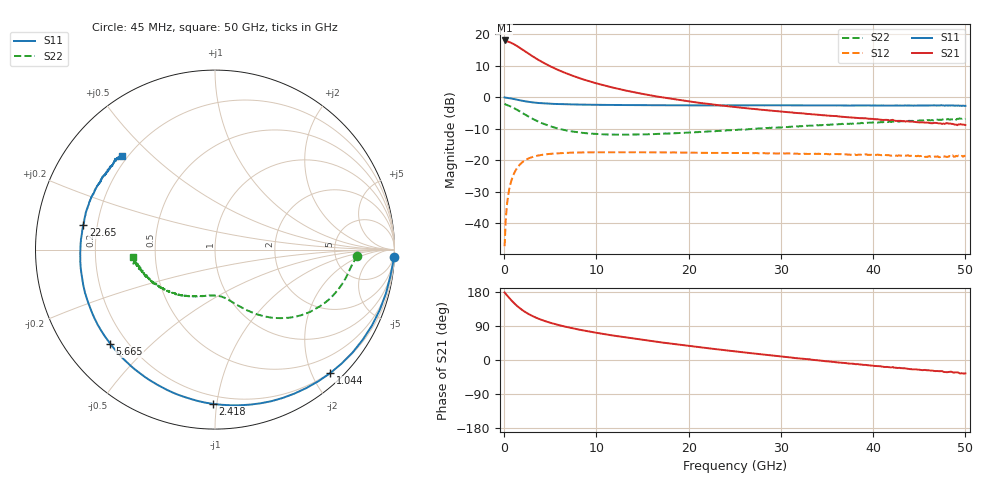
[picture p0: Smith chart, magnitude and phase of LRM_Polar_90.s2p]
!LRM Calibration
!DATE: 03-May-2007
!Vgs[V]=  -0.500
!Vds[V]=  6.000
!Igs[mA]=  0.000
!Ids[mA]=  133.151
# GHZ S RI  R  50
!  Freq  Res11  Ims11  Res21  Ims21  Res12  Ims12  Res22  Ims22
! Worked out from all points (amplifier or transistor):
!   401 points, 45 MHz to 50 GHz, reference 50 ohm
!   highest |S21| = 18.1 dB at 45 MHz (marker M1)
!   |S21| within 3 dB of that: start of sweep to 2.03 GHz
!   unconditionally stable (mu >= 1): 11.89 GHz to end of sweep
!   at 8.288 GHz: K = 0.69, MSG = 11.7 dB, |S12| = -17.5 dB
!   at 25.02 GHz: K = 2.06, MAG = 1.4 dB, |S12| = -17.6 dB
!   at 50 GHz: K = 4.15, MAG = -4.2 dB, |S12| = -18.7 dB
!   S11 on the Smith chart (normalised r, x): 45 MHz: 1, -47; 1.044 GHz: 0.19, -2.28; 2.418 GHz: 0.15, -0.98; 5.665 GHz: 0.14, -0.38; 22.65 GHz: 0.15, +0.09; 50 GHz: 0.18, +0.41
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0.045  0.9979 -0.0425  -8.005 0.2448  -0.000387 0.00432  0.7932 -0.0345
0.294775  0.953 -0.2426  -7.671 1.246  0.00351 0.0191  0.7476 -0.1181
0.54455  0.8745 -0.4229  -7.254 2.128  0.00998 0.0332  0.7083 -0.1919
0.794325  0.7673 -0.5725  -6.717 2.847  0.0187 0.0448  0.6613 -0.2519
1.0441  0.6405 -0.6894  -6.101 3.421  0.029 0.0534  0.6085 -0.2993
1.293875  0.5081 -0.7717  -5.452 3.822  0.0397 0.0594  0.5551 -0.3331
1.668538  0.3135 -0.8448  -4.517 4.18  0.0553 0.0645  0.4784 -0.3661
2.0432  0.1385 -0.8673  -3.669 4.3  0.0692 0.0655  0.4084 -0.3799
2.417863  -0.0111 -0.8598  -2.947 4.279  0.0812 0.0641  0.3494 -0.3815
3.0423  -0.2064 -0.8085  -2.003 4.055  0.0965 0.0587  0.2713 -0.3711
3.791625  -0.3688 -0.7244  -1.215 3.679  0.1091 0.0505  0.2062 -0.35
4.665838  -0.4935 -0.6253  -0.6154 3.237  0.1185 0.0411  0.1549 -0.3261
5.664937  -0.5837 -0.5244  -0.1818 2.793  0.1254 0.0313  0.1151 -0.3038
6.913812  -0.6534 -0.419  0.1493 2.345  0.1305 0.021  0.0821 -0.2841
8.412463  -0.6985 -0.3165  0.382 1.924  0.1332 0.01  0.0543 -0.2688
12.0342  -0.7428 -0.1429  0.6195 1.255  0.1343 -0.00946  0.00432 -0.2561
16.77992  -0.7496 0.0066  0.692 0.7495  0.1311 -0.0283  -0.0528 -0.2578
22.64964  -0.7332 0.1374  0.669 0.378  0.123 -0.0459  -0.1294 -0.2593
25.0225  -0.7239 0.1849  0.6483 0.2716  0.1202 -0.0523  -0.1609 -0.2573
33.38996  -0.6715 0.3236  0.5389 0.00614  0.1046 -0.0705  -0.2759 -0.2257
41.75742  -0.6023 0.4322  0.4075 -0.1388  0.0853 -0.0847  -0.384 -0.1495
50  -0.5164 0.5208  0.2966 -0.2098  0.0685 -0.0934  -0.455 -0.0407
